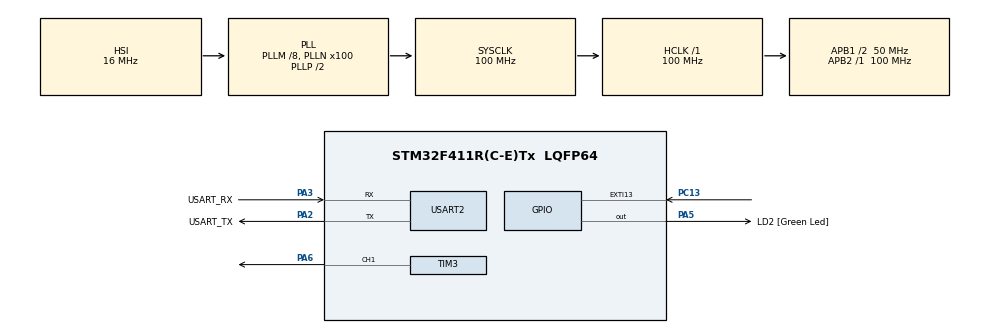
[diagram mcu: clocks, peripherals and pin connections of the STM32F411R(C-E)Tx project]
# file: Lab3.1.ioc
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Mcu.Family=STM32F4
Mcu.Name=STM32F411R(C-E)Tx
Mcu.Package=LQFP64
NVIC.EXTI15_10_IRQn=true\:2\:0\:true\:false\:true\:true\:true\:true
NVIC.PriorityGroup=NVIC_PRIORITYGROUP_2
NVIC.TIM3_IRQn=true\:0\:0\:false\:false\:true\:true\:true\:true
NVIC.TIM4_IRQn=true\:0\:0\:false\:false\:true\:true\:true\:true
NVIC.TIM5_IRQn=true\:0\:0\:false\:false\:true\:true\:true\:true
NVIC.USART2_IRQn=true\:0\:0\:false\:false\:true\:true\:true\:true
PA13.GPIO_Label=TMS
PA13.Mode=Serial_Wire
PA13.Signal=SYS_JTMS-SWDIO
PA14.GPIO_Label=TCK
PA14.Mode=Serial_Wire
PA14.Signal=SYS_JTCK-SWCLK
PA2.GPIO_Label=USART_TX
PA2.Mode=Asynchronous
PA2.Signal=USART2_TX
PA3.GPIO_Label=USART_RX
PA3.Mode=Asynchronous
PA3.Signal=USART2_RX
PA5.GPIO_Label=LD2 [Green Led]
PA5.Signal=GPIO_Output
PA6.Signal=S_TIM3_CH1
PB3.GPIO_Label=SWO
PB3.Signal=SYS_JTDO-SWO
PC13-ANTI_TAMP.Signal=GPXTI13
PC14-OSC32_IN.Mode=LSE-External-Oscillator
PC14-OSC32_IN.Signal=RCC_OSC32_IN
PC15-OSC32_OUT.Mode=LSE-External-Oscillator
PC15-OSC32_OUT.Signal=RCC_OSC32_OUT
PH0\ -\ OSC_IN.Mode=HSE-External-Clock-Source
PH0\ -\ OSC_IN.Signal=RCC_OSC_IN
PH1\ -\ OSC_OUT.Mode=HSE-External-Clock-Source
PH1\ -\ OSC_OUT.Signal=RCC_OSC_OUT
ProjectManager.HeapSize=0x200
ProjectManager.StackSize=0x400
ProjectManager.TargetToolchain=STM32CubeIDE
RCC.48MHZClocksFreq_Value=50000000
RCC.AHBFreq_Value=100000000
RCC.APB1CLKDivider=RCC_HCLK_DIV2
RCC.APB1Freq_Value=50000000
RCC.APB1TimFreq_Value=100000000
RCC.APB2Freq_Value=100000000
RCC.APB2TimFreq_Value=100000000
RCC.CortexFreq_Value=100000000
RCC.FLatency-AdvancedSettings=FLASH_LATENCY_3
RCC.HCLKFreq_Value=100000000
RCC.HSE_VALUE=8000000
RCC.HSI_VALUE=16000000
RCC.PLLM=8
RCC.PLLN=100
RCC.SYSCLKFreq_VALUE=100000000
RCC.SYSCLKSource=RCC_SYSCLKSOURCE_PLLCLK
RCC.VCOOutputFreq_Value=200000000
SH.S_TIM3_CH1.0=TIM3_CH1,PWM Generation1 CH1
TIM3.AutoReloadPreload=TIM_AUTORELOAD_PRELOAD_ENABLE
TIM3.Channel-PWM\ Generation1\ CH1=TIM_CHANNEL_1
TIM3.Period=999
TIM3.Prescaler=49999
TIM3.Pulse-PWM\ Generation1\ CH1=500
TIM4.AutoReloadPreload=TIM_AUTORELOAD_PRELOAD_ENABLE
TIM4.Period=980
TIM4.Prescaler=49999
TIM5.AutoReloadPreload=TIM_AUTORELOAD_PRELOAD_ENABLE
TIM5.Period=1999
TIM5.Prescaler=49999
USART2.VirtualMode=VM_ASYNC
VP_TIM3_VS_ClockSourceINT.Mode=Internal
VP_TIM4_VS_ClockSourceINT.Mode=Internal
VP_TIM5_VS_ClockSourceINT.Mode=Internal
board=NUCLEO-F411RE

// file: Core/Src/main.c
/* USER CODE BEGIN Header */
/**
  ******************************************************************************
  * @file           : main.c
  * @brief          : Main program body
  ******************************************************************************
  * @attention
  *
  * Copyright (c) 2024 STMicroelectronics.
  * All rights reserved.
  *
  * This software is licensed under terms that can be found in the LICENSE file
  * in the root directory of this software component.
  * If no LICENSE file comes with this software, it is provided AS-IS.
  *
  ******************************************************************************
  */
/* USER CODE END Header */
#include "main.h"

/* USER CODE BEGIN Includes */
#include <stdio.h>
#include <stdlib.h>
#include <string.h>
/* USER CODE END Includes */

TIM_HandleTypeDef htim3;
TIM_HandleTypeDef htim4;
TIM_HandleTypeDef htim5;

UART_HandleTypeDef huart2;

void SystemClock_Config(void);
static void MX_GPIO_Init(void);
static void MX_USART2_UART_Init(void);
static void MX_TIM4_Init(void);
static void MX_TIM5_Init(void);
static void MX_TIM3_Init(void);
/* USER CODE BEGIN PFP */
uint16_t delay = 200;
void HAL_GPIO_EXTI_Callback(uint16_t GPIO_Pin) {
//	HAL_GPIO_TogglePin(GPIOA, GPIO_PIN_5);
	HAL_Delay(100);
	if(delay == 200) {
		delay = 1000;
	} else if(delay == 1000) {
		delay = 5000;
	} else {
		delay = 200;
	}
	__HAL_GPIO_EXTI_CLEAR_IT(GPIO_Pin);
}
/* USER CODE END PFP */

/* USER CODE BEGIN 0 */
int internalLEDCount = 0;
int externalLEDCount = 0;
int currentColor = 30;

void HAL_TIM_PeriodElapsedCallback(TIM_HandleTypeDef *htim) {
	if(htim == &htim3) {
		HAL_GPIO_TogglePin(GPIOA, GPIO_PIN_5);
		internalLEDCount += 1;
	} else if(htim == &htim4) {
		externalLEDCount += 1;
	} else if(htim == &htim5) {
		int currentTime = HAL_GetTick();
		char *message = (char*) malloc(sizeof(char) * 100);
		sprintf(message, "\e[0;%dmTime: %d, internal= %d, external= %d\e[0m\r\n",
				currentColor, currentTime, internalLEDCount / 2, externalLEDCount);
		HAL_UART_Transmit(&huart2, message, strlen(message), 100);
		free(message);

		currentColor++;
		if (currentColor > 37) {
			currentColor = 30;
		}
	}
}
/* USER CODE END 0 */

int main(void)
{

  /* MCU Configuration--------------------------------------------------------*/

  /* Reset of all peripherals, Initializes the Flash interface and the Systick. */
  HAL_Init();

  /* Configure the system clock */
  SystemClock_Config();

  /* Initialize all configured peripherals */
  MX_GPIO_Init();
  MX_USART2_UART_Init();
  MX_TIM4_Init();
  MX_TIM5_Init();
  MX_TIM3_Init();
  /* USER CODE BEGIN 2 */
//  HAL_TIM_PWM_Start(&htim5,TIM_CHANNEL_1);
  HAL_TIM_PWM_Start(&htim3,TIM_CHANNEL_1);
  HAL_TIM_Base_Start_IT(&htim3);
  HAL_TIM_Base_Start_IT(&htim4);
  HAL_TIM_Base_Start_IT(&htim5);
  /* USER CODE END 2 */

  /* Infinite loop */
  /* USER CODE BEGIN WHILE */
  while (1)
  {
//	 HAL_GPIO_TogglePin(GPIOA, GPIO_PIN_5);
//	 HAL_Delay(delay);
    /* USER CODE END WHILE */

  }
}

void SystemClock_Config(void)
{
  RCC_OscInitTypeDef RCC_OscInitStruct = {0};
  RCC_ClkInitTypeDef RCC_ClkInitStruct = {0};

  /** Configure the main internal regulator output voltage
  */
  __HAL_RCC_PWR_CLK_ENABLE();
  __HAL_PWR_VOLTAGESCALING_CONFIG(PWR_REGULATOR_VOLTAGE_SCALE1);

  /** Initializes the RCC Oscillators according to the specified parameters
  * in the RCC_OscInitTypeDef structure.
  */
  RCC_OscInitStruct.OscillatorType = RCC_OSCILLATORTYPE_HSI;
  RCC_OscInitStruct.HSIState = RCC_HSI_ON;
  RCC_OscInitStruct.HSICalibrationValue = RCC_HSICALIBRATION_DEFAULT;
  RCC_OscInitStruct.PLL.PLLState = RCC_PLL_ON;
  RCC_OscInitStruct.PLL.PLLSource = RCC_PLLSOURCE_HSI;
  RCC_OscInitStruct.PLL.PLLM = 8;
  RCC_OscInitStruct.PLL.PLLN = 100;
  RCC_OscInitStruct.PLL.PLLP = RCC_PLLP_DIV2;
  RCC_OscInitStruct.PLL.PLLQ = 4;
  if (HAL_RCC_OscConfig(&RCC_OscInitStruct) != HAL_OK)
  {
    Error_Handler();
  }

  /** Initializes the CPU, AHB and APB buses clocks
  */
  RCC_ClkInitStruct.ClockType = RCC_CLOCKTYPE_HCLK|RCC_CLOCKTYPE_SYSCLK
                              |RCC_CLOCKTYPE_PCLK1|RCC_CLOCKTYPE_PCLK2;
  RCC_ClkInitStruct.SYSCLKSource = RCC_SYSCLKSOURCE_PLLCLK;
  RCC_ClkInitStruct.AHBCLKDivider = RCC_SYSCLK_DIV1;
  RCC_ClkInitStruct.APB1CLKDivider = RCC_HCLK_DIV2;
  RCC_ClkInitStruct.APB2CLKDivider = RCC_HCLK_DIV1;

  if (HAL_RCC_ClockConfig(&RCC_ClkInitStruct, FLASH_LATENCY_3) != HAL_OK)
  {
    Error_Handler();
  }
}

static void MX_TIM3_Init(void)
{

  TIM_ClockConfigTypeDef sClockSourceConfig = {0};
  TIM_MasterConfigTypeDef sMasterConfig = {0};
  TIM_OC_InitTypeDef sConfigOC = {0};

  htim3.Instance = TIM3;
  htim3.Init.Prescaler = 49999;
  htim3.Init.CounterMode = TIM_COUNTERMODE_UP;
  htim3.Init.Period = 999;
  htim3.Init.ClockDivision = TIM_CLOCKDIVISION_DIV1;
  htim3.Init.AutoReloadPreload = TIM_AUTORELOAD_PRELOAD_ENABLE;
  if (HAL_TIM_Base_Init(&htim3) != HAL_OK)
  {
    Error_Handler();
  }
  sClockSourceConfig.ClockSource = TIM_CLOCKSOURCE_INTERNAL;
  if (HAL_TIM_ConfigClockSource(&htim3, &sClockSourceConfig) != HAL_OK)
  {
    Error_Handler();
  }
  if (HAL_TIM_PWM_Init(&htim3) != HAL_OK)
  {
    Error_Handler();
  }
  sMasterConfig.MasterOutputTrigger = TIM_TRGO_RESET;
  sMasterConfig.MasterSlaveMode = TIM_MASTERSLAVEMODE_DISABLE;
  if (HAL_TIMEx_MasterConfigSynchronization(&htim3, &sMasterConfig) != HAL_OK)
  {
    Error_Handler();
  }
  sConfigOC.OCMode = TIM_OCMODE_PWM1;
  sConfigOC.Pulse = 500;
  sConfigOC.OCPolarity = TIM_OCPOLARITY_HIGH;
  sConfigOC.OCFastMode = TIM_OCFAST_DISABLE;
  if (HAL_TIM_PWM_ConfigChannel(&htim3, &sConfigOC, TIM_CHANNEL_1) != HAL_OK)
  {
    Error_Handler();
  }
  HAL_TIM_MspPostInit(&htim3);

}

static void MX_TIM4_Init(void)
{

  TIM_ClockConfigTypeDef sClockSourceConfig = {0};
  TIM_MasterConfigTypeDef sMasterConfig = {0};

  htim4.Instance = TIM4;
  htim4.Init.Prescaler = 49999;
  htim4.Init.CounterMode = TIM_COUNTERMODE_UP;
  htim4.Init.Period = 980;
  htim4.Init.ClockDivision = TIM_CLOCKDIVISION_DIV1;
  htim4.Init.AutoReloadPreload = TIM_AUTORELOAD_PRELOAD_ENABLE;
  if (HAL_TIM_Base_Init(&htim4) != HAL_OK)
  {
    Error_Handler();
  }
  sClockSourceConfig.ClockSource = TIM_CLOCKSOURCE_INTERNAL;
  if (HAL_TIM_ConfigClockSource(&htim4, &sClockSourceConfig) != HAL_OK)
  {
    Error_Handler();
  }
  sMasterConfig.MasterOutputTrigger = TIM_TRGO_RESET;
  sMasterConfig.MasterSlaveMode = TIM_MASTERSLAVEMODE_DISABLE;
  if (HAL_TIMEx_MasterConfigSynchronization(&htim4, &sMasterConfig) != HAL_OK)
  {
    Error_Handler();
  }

}

static void MX_TIM5_Init(void)
{

  TIM_ClockConfigTypeDef sClockSourceConfig = {0};
  TIM_MasterConfigTypeDef sMasterConfig = {0};

  htim5.Instance = TIM5;
  htim5.Init.Prescaler = 49999;
  htim5.Init.CounterMode = TIM_COUNTERMODE_UP;
  htim5.Init.Period = 1999;
  htim5.Init.ClockDivision = TIM_CLOCKDIVISION_DIV1;
  htim5.Init.AutoReloadPreload = TIM_AUTORELOAD_PRELOAD_ENABLE;
  if (HAL_TIM_Base_Init(&htim5) != HAL_OK)
  {
    Error_Handler();
  }
  sClockSourceConfig.ClockSource = TIM_CLOCKSOURCE_INTERNAL;
  if (HAL_TIM_ConfigClockSource(&htim5, &sClockSourceConfig) != HAL_OK)
  {
    Error_Handler();
  }
  sMasterConfig.MasterOutputTrigger = TIM_TRGO_RESET;
  sMasterConfig.MasterSlaveMode = TIM_MASTERSLAVEMODE_DISABLE;
  if (HAL_TIMEx_MasterConfigSynchronization(&htim5, &sMasterConfig) != HAL_OK)
  {
    Error_Handler();
  }

}

static void MX_USART2_UART_Init(void)
{

  huart2.Instance = USART2;
  huart2.Init.BaudRate = 115200;
  huart2.Init.WordLength = UART_WORDLENGTH_8B;
  huart2.Init.StopBits = UART_STOPBITS_1;
  huart2.Init.Parity = UART_PARITY_NONE;
  huart2.Init.Mode = UART_MODE_TX_RX;
  huart2.Init.HwFlowCtl = UART_HWCONTROL_NONE;
  huart2.Init.OverSampling = UART_OVERSAMPLING_16;
  if (HAL_UART_Init(&huart2) != HAL_OK)
  {
    Error_Handler();
  }

}

static void MX_GPIO_Init(void)
{
  GPIO_InitTypeDef GPIO_InitStruct = {0};

  /* GPIO Ports Clock Enable */
  __HAL_RCC_GPIOC_CLK_ENABLE();
  __HAL_RCC_GPIOH_CLK_ENABLE();
  __HAL_RCC_GPIOA_CLK_ENABLE();
  __HAL_RCC_GPIOB_CLK_ENABLE();

  /*Configure GPIO pin Output Level */
  HAL_GPIO_WritePin(LD2_GPIO_Port, LD2_Pin, GPIO_PIN_RESET);

  /*Configure GPIO pin : PC13 */
  GPIO_InitStruct.Pin = GPIO_PIN_13;
  GPIO_InitStruct.Mode = GPIO_MODE_IT_RISING;
  GPIO_InitStruct.Pull = GPIO_NOPULL;
  HAL_GPIO_Init(GPIOC, &GPIO_InitStruct);

  /*Configure GPIO pin : LD2_Pin */
  GPIO_InitStruct.Pin = LD2_Pin;
  GPIO_InitStruct.Mode = GPIO_MODE_OUTPUT_PP;
  GPIO_InitStruct.Pull = GPIO_NOPULL;
  GPIO_InitStruct.Speed = GPIO_SPEED_FREQ_LOW;
  HAL_GPIO_Init(LD2_GPIO_Port, &GPIO_InitStruct);

  /* EXTI interrupt init*/
  HAL_NVIC_SetPriority(EXTI15_10_IRQn, 2, 0);
  HAL_NVIC_EnableIRQ(EXTI15_10_IRQn);

}

void Error_Handler(void)
{
  __disable_irq();
  while (1)
  {
  }
}
